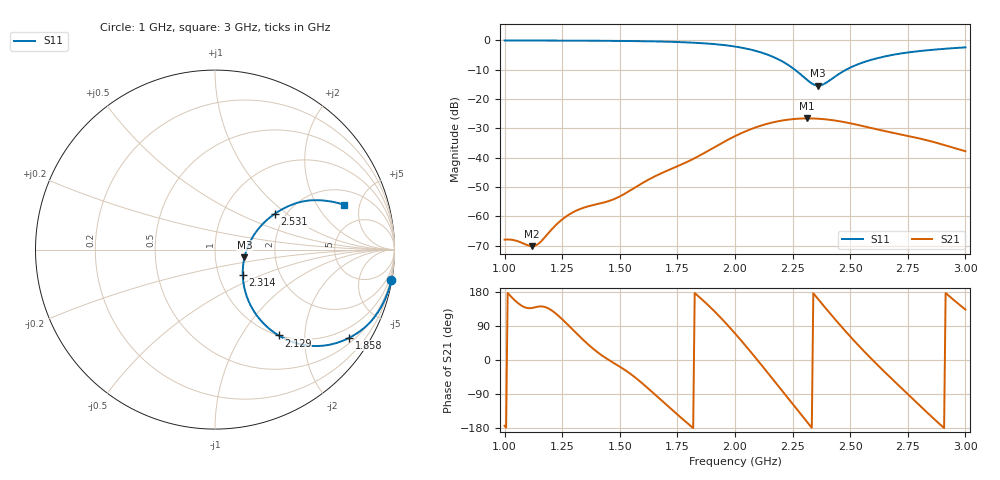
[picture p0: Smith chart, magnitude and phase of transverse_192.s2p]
! TOUCHSTONE file generated by CST MICROWAVE STUDIO
! Date and time: Tue Mar 11 13:57:39 2025
! Project name: transverse.cst
! Parameters = {Fracture=5; B=12.5; D=160; F=5; Feed=2.85625; L=100; M=30; R=0.384908; S=2; Theta=180; length=57.125; wave=114.25}
! Header version: 2024
! Port assignment regex: !\s*Touchstone port\s*([0-9]+)\s*=\s*(CST MWS port|CST DES external port|CST DES block port)\s*(.+)\s* \(\"(.*)\"\)(\s*mode\s*([0-9]+))?.*
! Touchstone port assignment:
! Touchstone port 1 = CST MWS port 1 ("")
! Touchstone port 2 = CST MWS port 2 ("")
# GHz S MA R 50
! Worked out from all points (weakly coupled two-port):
!   304 points, 1 GHz to 3 GHz, reference 50 ohm
!   highest |S21| = -26.59 dB at 2.314 GHz (marker M1); lowest = -70.1 dB at 1.119 GHz (marker M2)
!   lowest |S11| = -15.4 dB at 2.36 GHz (marker M3), VSWR 1.41, Z = 69.3 - j6.14 ohm
!   |S11| at or under -10 dB: 2.26 GHz to 2.482 GHz (221.9 MHz wide, 9.36 % of centre)
!   S12 and S22 are empty: the file has one direction only
!   S11 on the Smith chart (normalised r, x): 1 GHz: 0, -12; 1.858 GHz: 0.65, -3.23; 2.129 GHz: 1.00, -1.48; 2.314 GHz: 1.30, -0.39; 2.531 GHz: 1.75, +0.83; 3 GHz: 2.99, +3.53
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1  0.9976 -9.8  0.0004021 -173.7  0 0.0  0 0.0
1.0462  0.9969 -10.4  0.0003897 156.3  0 0.0  0 0.0
1.11881  0.9958 -11.4  0.0003114 137.3  0 0.0  0 0.0
1.15182  0.9952 -11.9  0.0003559 141.3  0 0.0  0 0.0
1.21782  0.9936 -13.0  0.0006833 124.8  0 0.0  0 0.0
1.25743  0.9923 -13.7  0.0009373 103.2  0 0.0  0 0.0
1.33663  0.9893 -15.2  0.00138 55.7  0 0.0  0 0.0
1.48185  0.9813 -18.4  0.002027 -10.9  0 0.0  0 0.0
1.66667  0.9592 -24.2  0.005139 -99.0  0 0.0  0 0.0
1.85809  0.8956 -33.2  0.01155 159.0  0 0.0  0 0.0
2.0033  0.7819 -43.4  0.02369 67.9  0 0.0  0 0.0
2.12871  0.595 -53.5  0.03686 -23.6  0 0.0  0 0.0
2.22112  0.4034 -57.7  0.04411 -93.9  0 0.0  0 0.0
2.31353  0.211 -42.9  0.04685 -164.1  0 0.0  0 0.0
2.33993  0.1786 -28.5  0.04668 176.1  0 0.0  0 0.0
2.35974  0.1698 -14.7  0.04629 161.4  0 0.0  0 0.0
2.38614  0.1805 3.0  0.04544 142.0  0 0.0  0 0.0
2.44554  0.2591 24.6  0.0424 99.5  0 0.0  0 0.0
2.53135  0.3888 30.9  0.0364 41.4  0 0.0  0 0.0
2.66997  0.5527 28.9  0.02741 -43.6  0 0.0  0 0.0
2.83498  0.6789 23.6  0.01978 -139.2  0 0.0  0 0.0
3  0.7608 19.1  0.01293 133.3  0 0.0  0 0.0
